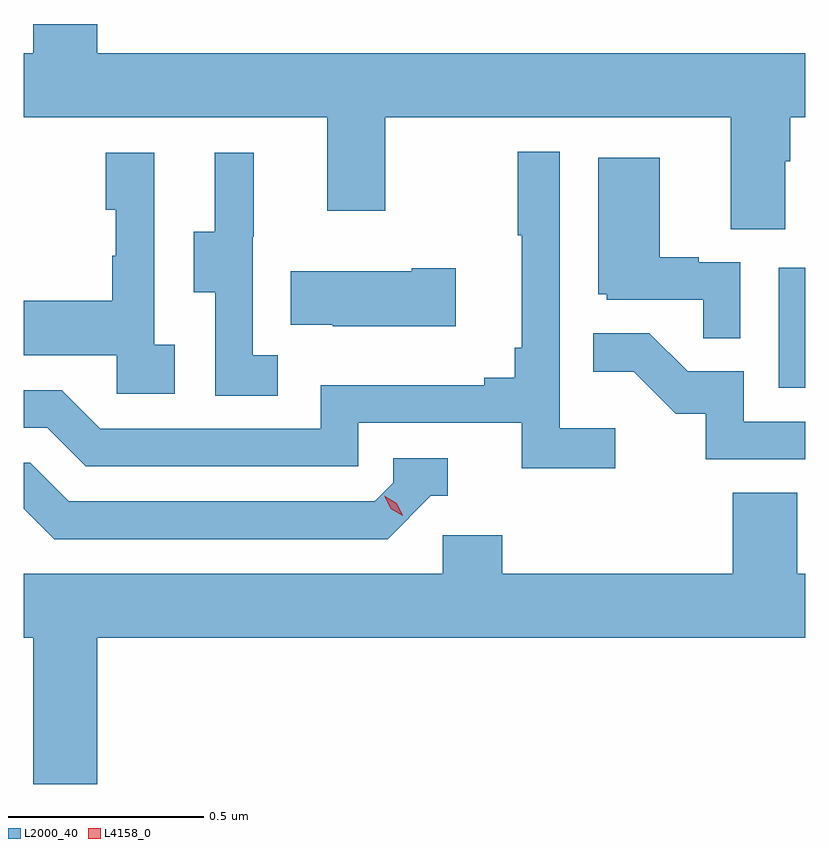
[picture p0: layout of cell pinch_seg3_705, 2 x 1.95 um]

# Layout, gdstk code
import gdstk
lib = gdstk.Library(unit=1e-6, precision=1e-09)
def R(c, l, rs):  # rectangles x0, y0, x1, y1
    for r in rs: c.add(gdstk.rectangle(r[:2], r[2:], *l))
def P(c, l, *ps):  # polygons
    for p in ps: c.add(gdstk.Polygon(p, *l))
L2000_40 = (2000, 40)
L4158_0 = (4158, 0)

pinch_seg3_705 = lib.new_cell('pinch_seg3_705')
R(pinch_seg3_705, L2000_40, [(1113.968,674.916,1114.036,675.223)])
P(pinch_seg3_705, L2000_40, [(1113.985,675.496),(1113.998,675.496),(1113.998,675.608),(1114.036,675.608),(1114.036,675.772),(1112.224,675.772),(1112.224,675.847),(1112.06,675.847),(1112.06,675.772),(1112.036,675.772),(1112.036,675.608),(1112.813,675.608),(1112.813,675.369),(1112.961,675.369),(1112.961,675.608),(1113.845,675.608),(1113.845,675.322),(1113.985,675.322)],
  [(1113.55,674.812),(1113.408,674.812),(1113.408,675.52),(1113.3,675.52),(1113.3,675.307),(1113.311,675.307),(1113.311,675.019),(1113.292,675.019),(1113.292,674.942),(1113.215,674.942),(1113.215,674.923),(1112.796,674.923),(1112.796,674.811),(1112.232,674.811),(1112.133,674.91),(1112.036,674.91),(1112.036,674.814),(1112.096,674.814),(1112.195,674.715),(1112.892,674.715),(1112.892,674.826),(1113.311,674.826),(1113.311,674.71),(1113.55,674.71)],
  [(1112.686,674.999),(1112.622,674.999),(1112.622,675.303),(1112.624,675.303),(1112.624,675.517),(1112.525,675.517),(1112.525,675.315),(1112.471,675.315),(1112.471,675.16),(1112.526,675.16),(1112.526,674.896),(1112.686,674.896)],
  [(1112.422,675.026),(1112.37,675.026),(1112.37,675.517),(1112.246,675.517),(1112.246,675.372),(1112.272,675.372),(1112.272,675.254),(1112.262,675.254),(1112.262,675.139),(1112.036,675.139),(1112.036,674.999),(1112.274,674.999),(1112.274,674.901),(1112.422,674.901)],
  [(1113.87,675.237),(1113.764,675.237),(1113.764,675.25),(1113.664,675.25),(1113.664,675.505),(1113.506,675.505),(1113.506,675.156),(1113.528,675.156),(1113.528,675.141),(1113.775,675.141),(1113.775,675.043),(1113.87,675.043)],
  [(1113.142,675.222),(1113.029,675.222),(1113.029,675.214),(1112.719,675.214),(1112.719,675.077),(1112.827,675.077),(1112.827,675.074),(1113.142,675.074)],
  [(1114.036,674.829),(1113.879,674.829),(1113.879,674.958),(1113.735,674.958),(1113.637,675.056),(1113.493,675.056),(1113.493,674.957),(1113.597,674.957),(1113.704,674.85),(1113.781,674.85),(1113.781,674.733),(1114.036,674.733)],
  [(1113.078,674.64),(1113.121,674.64),(1113.121,674.736),(1112.982,674.736),(1112.982,674.673),(1112.934,674.625),(1112.151,674.625),(1112.052,674.724),(1112.036,674.724),(1112.036,674.607),(1112.114,674.529),(1112.967,674.529)],
  [(1112.224,674.276),(1114.036,674.276),(1114.036,674.44),(1114.016,674.44),(1114.016,674.648),(1113.851,674.648),(1113.851,674.44),(1113.26,674.44),(1113.26,674.538),(1113.108,674.538),(1113.108,674.44),(1112.036,674.44),(1112.036,674.276),(1112.06,674.276),(1112.06,673.902),(1112.224,673.902)])
P(pinch_seg3_705, L4158_0, [(1113.006,674.588),(1112.975,674.607),(1112.959,674.64),(1112.959,674.64),(1112.959,674.64),(1112.99,674.621),(1113.006,674.588),(1113.006,674.588)])

lib.write_gds('pinch_seg3_705.gds')
